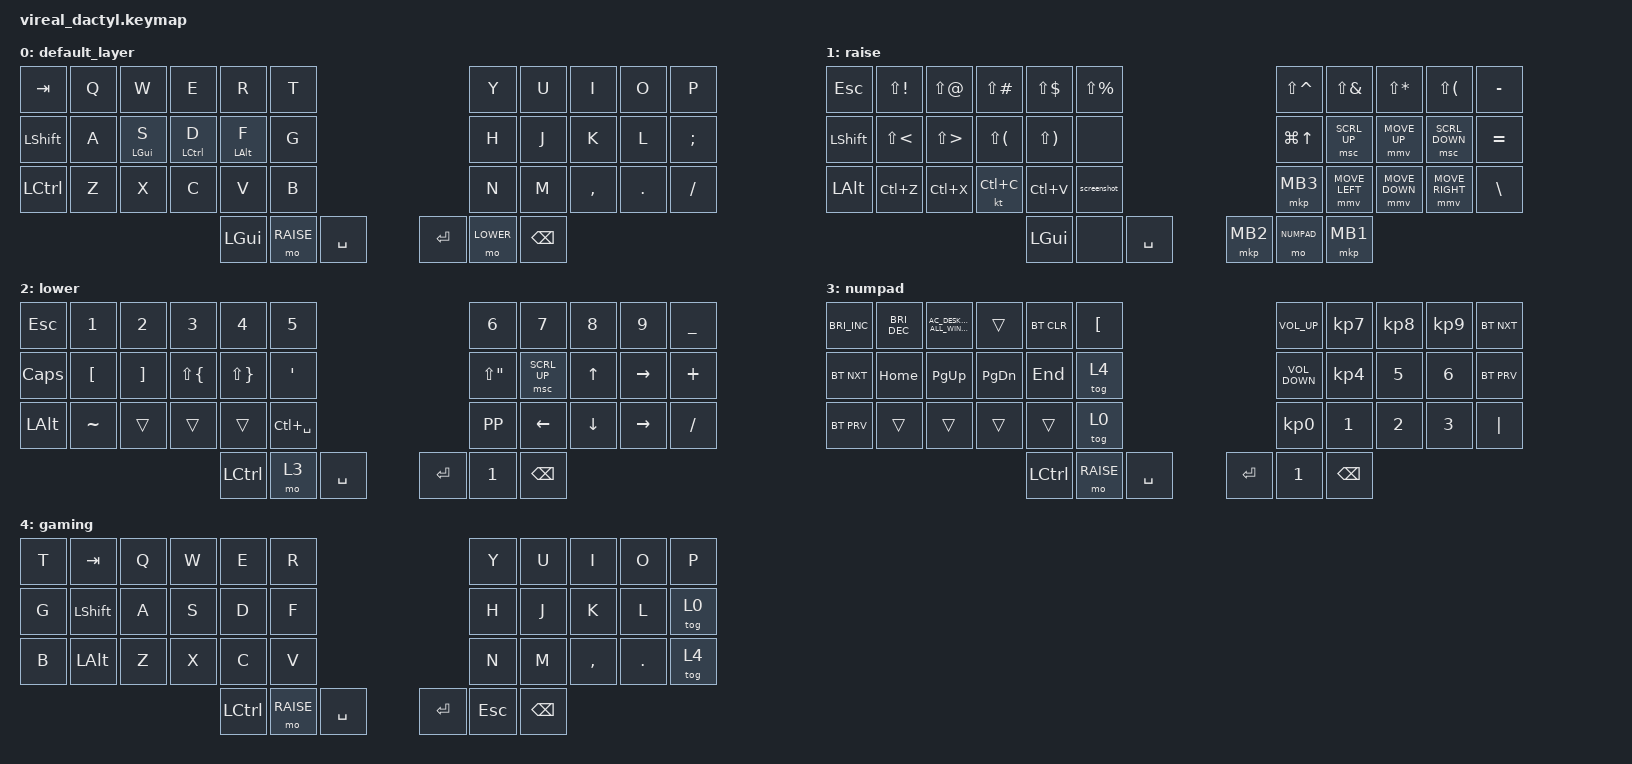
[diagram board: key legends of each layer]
#define ZMK_POINTING_DEFAULT_MOVE_VAL 600  // default: 600
#define ZMK_POINTING_DEFAULT_SCRL_VAL 10    // default: 10

#include <behaviors.dtsi>
#include <dt-bindings/zmk/bt.h>
#include <dt-bindings/zmk/keys.h>
#include <dt-bindings/zmk/pointing.h>

#define DEFAULT 0
#define RAISE   1
#define LOWER   2
#define NUMPAD  3
#define GAMING  4

/ {
    macros {
        screenshot: screenshot {
            compatible = "zmk,behavior-macro";
            #binding-cells = <0>;
            bindings =
                <&kp LEFT_COMMAND &kp LEFT_SHIFT &kp NUMBER_4>,
                <&macro_tap>;

            label = "SCREENSHOT";
        };
    };

    keymap {
        compatible = "zmk,keymap";

        default_layer {
            // Commented layout is not actual layout.
            // -------------------------------------------------------------------------------------------------------------------------
            // |   TAB   |    Q    |    W    |    E    |    R    |    T    |                   |    Y    |    U    |    I    |    O    |    P    |
            // |  LALT   |    A    |    S    |    D    |    F    |    G    |                   |    H    |    J    |    K    |    L    |    ;    |
            // |  LCTRL  |    Z    |    X    |    C    |    V    |    B    |                   |    N    |    M    |    ,    |    .    |    /    |
            //                              |    LCTRL | MO lay 1| SPACE   |                   | ENTER   | Lower | BSPC

            bindings = <
&kp TAB           &kp Q  &kp W           &kp E               &kp R           &kp T        &kp Y      &kp U      &kp I      &kp O    &kp P

&kp LEFT_SHIFT    &kp A  &mt LEFT_GUI S  &mt LEFT_CONTROL D  &mt LEFT_ALT F  &kp G        &kp H      &kp J      &kp K      &kp L    &kp SEMI

&kp LEFT_CONTROL  &kp Z  &kp X           &kp C               &kp V           &kp B        &kp N      &kp M      &kp COMMA  &kp DOT  &kp FSLH

                                         &kp LEFT_GUI        &mo RAISE       &kp SPACE    &kp ENTER  &mo LOWER  &kp BSPC
            >;
        };

        raise {
            // commented layout is not actual layout.
            // -------------------------------------------------------------------------------------------------------------------------
            // |   tab   |    q    |    w    |    e    |    r    |    t    |                   |    y    |    u    |    i    |    o    |    p    |
            // |  lalt   |    a    |    s    |    d    |    f    |    g    |                   |    h    |    j    |    k    |    l    |    ;    |
            // |  lctrl  |    z    |    x    |    c    |    v    |    b    |                   |    n    |    m    |    ,    |    .    |    /    |
            //                              |    LCTRL | MO lay 1| SPACE   |                   | ENTER   | Lower | BSPC

            bindings = <
&kp ESC         &kp LS(EXCL)  &kp LS(AT)  &kp LS(POUND)  &kp LS(DLLR)  &kp LS(PRCNT)    &kp LS(CARET)  &kp LS(AMPS)    &kp LS(STAR)    &kp LS(LPAR)     &kp MINUS

&kp LEFT_SHIFT  &kp LS(LT)    &kp LS(GT)  &kp LS(LPAR)   &kp LS(RPAR)  &none            &kp LG(UP)     &msc SCRL_UP    &mmv MOVE_UP    &msc SCRL_DOWN   &kp EQUAL

&kp LEFT_ALT    &kp LC(Z)     &kp LC(X)   &kt LC(C)      &kp LC(V)     &screenshot      &mkp MB3       &mmv MOVE_LEFT  &mmv MOVE_DOWN  &mmv MOVE_RIGHT  &kp BSLH

                                          &kp LEFT_GUI   &none         &kp SPACE        &mkp MB2       &mo NUMPAD      &mkp MB1
            >;
        };

        lower {
            // commented layout is not actual layout.
            // -------------------------------------------------------------------------------------------------------------------------
            // |   tab   |    q    |    w    |    e    |    r    |    t    |                   |    y    |    u    |    i    |    o    |    p    |
            // |  lalt   |    a    |    s    |    d    |    f    |    g    |                   |    h    |    j    |    k    |    l    |    ;    |
            // |  lctrl  |    z    |    x    |    c    |    v    |    b    |                   |    n    |    m    |    ,    |    .    |    /    |
            //                               |    LCTRL | MO lay 1| SPACE  |                   | ENTER   | Lower | BSPC

            bindings = <
&kp ESC       &kp N1     &kp N2    &kp N3        &kp N4        &kp N5           &kp N6       &kp N7        &kp N8    &kp N9     &kp UNDER

&kp CAPSLOCK  &kp LBKT   &kp RBKT  &kp LS(LBRC)  &kp LS(RBRC)  &kp SQT          &kp LS(DQT)  &msc SCRL_UP  &kp UP    &kp RIGHT  &kp PLUS

&kp LEFT_ALT  &kp TILDE  &trans    &trans        &trans        &kp LC(SPACE)    &kp K_PP     &kp LEFT      &kp DOWN  &kp RIGHT  &kp FSLH

                                   &kp LCTRL     &mo 3         &kp SPACE        &kp ENTER    &kp 1         &kp BSPC
            >;
        };

        numpad {
            // commented layout is not actual layout.
            // -------------------------------------------------------------------------------------------------------------------------
            // |   tab   |    q    |    w    |    e    |    r    |    t    |                   |    y    |    u    |    i    |    o    |    p    |
            // |  lalt   |    a    |    s    |    d    |    f    |    g    |                   |    h    |    j    |    k    |    l    |    ;    |
            // |  lctrl  |    z    |    x    |    c    |    v    |    b    |                   |    n    |    m    |    ,    |    .    |    /    |
            //                               |    LCTRL | MO lay 1| SPACE  |                   | ENTER   | Lower | BSPC

            bindings = <
&kp C_BRIGHTNESS_INC  &kp C_BRI_DEC  &kp C_AC_DESKTOP_SHOW_ALL_WINDOWS  &trans     &bt BT_CLR  &kp LBKT     &kp K_VOLUME_UP    &kp KP_NUMBER_7  &kp KP_NUMBER_8  &kp KP_NUMBER_9  &bt BT_NXT

&bt BT_NXT            &kp HOME       &kp PG_UP                          &kp PG_DN  &kp END     &tog 4       &kp K_VOLUME_DOWN  &kp KP_NUMBER_4  &kp N5           &kp N6           &bt BT_PRV

&bt BT_PRV            &trans         &trans                             &trans     &trans      &tog 0       &kp KP_NUMBER_0    &kp N1           &kp N2           &kp N3           &kp PIPE

                                                                        &kp LCTRL  &mo RAISE   &kp SPACE    &kp ENTER          &kp 1            &kp BSPC
            >;
        };

        gaming {
            bindings = <
&kp T  &kp TAB       &kp Q  &kp W      &kp E      &kp R        &kp Y    &kp U    &kp I      &kp O    &kp P

&kp G  &kp LSHFT     &kp A  &kp S      &kp D      &kp F        &kp H    &kp J    &kp K      &kp L    &tog 0

&kp B  &kp LEFT_ALT  &kp Z  &kp X      &kp C      &kp V        &kp N    &kp M    &kp COMMA  &kp DOT  &tog 4

                            &kp LCTRL  &mo RAISE  &kp SPACE    &kp RET  &kp ESC  &kp BSPC
            >;
        };
    };
};
